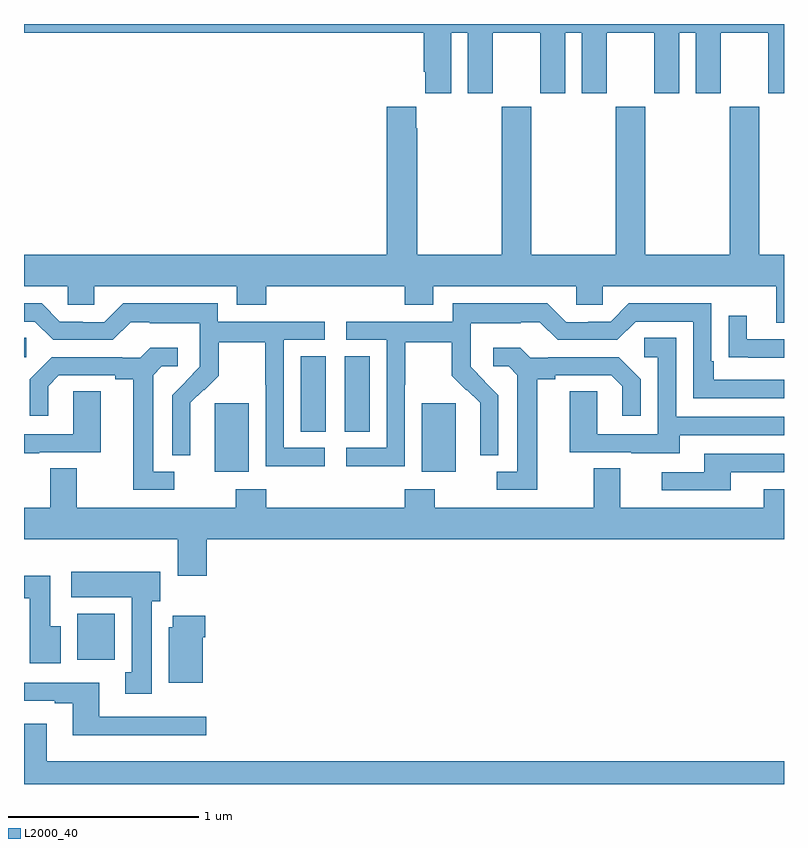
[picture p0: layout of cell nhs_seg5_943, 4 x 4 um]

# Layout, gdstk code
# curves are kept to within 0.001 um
import gdstk
lib = gdstk.Library(unit=1e-6, precision=1e-09)
def R(c, l, rs):  # rectangles x0, y0, x1, y1
    for r in rs: c.add(gdstk.rectangle(r[:2], r[2:], *l))
def P(c, l, *ps):  # polygons
    for p in ps: c.add(gdstk.Polygon(p, *l))
L2000_40 = (2000, 40)

nhs_seg5_943 = lib.new_cell('nhs_seg5_943')
R(nhs_seg5_943, L2000_40, [(171.281,861.452,171.478,861.694), (172.004,862.442,172.183,862.803), (173.093,862.442,173.272,862.803), (172.457,862.654,172.588,863.051), (172.688,862.654,172.819,863.051), (171,863.046,171.013,863.147)])
P(nhs_seg5_943, L2000_40, [(171,864.752),(173.105,864.752),(173.105,864.547),(173.111,864.547),(173.111,864.435),(173.248,864.435),(173.248,864.752),(173.336,864.752),(173.336,864.435),(173.467,864.435),(173.467,864.752),(173.717,864.752),(173.717,864.435),(173.848,864.435),(173.848,864.752),(173.936,864.752),(173.936,864.435),(174.067,864.435),(174.067,864.752),(174.317,864.752),(174.317,864.435),(174.448,864.435),(174.448,864.752),(174.536,864.752),(174.536,864.435),(174.667,864.435),(174.667,864.752),(174.917,864.752),(174.917,864.435),(175,864.435),(175,864.799),(171,864.799)],
  [(175,863.584),(174.87,863.584),(174.87,864.364),(174.715,864.364),(174.715,863.584),(174.27,863.584),(174.27,864.364),(174.115,864.364),(174.115,863.584),(173.67,863.584),(173.67,864.364),(173.515,864.364),(173.515,863.584),(173.07,863.584),(173.07,864.251),(173.065,864.251),(173.065,864.364),(172.91,864.364),(172.91,863.584),(171,863.584),(171,863.42),(171.231,863.42),(171.231,863.322),(171.369,863.322),(171.369,863.42),(172.121,863.42),(172.121,863.321),(172.274,863.321),(172.274,863.42),(173.003,863.42),(173.003,863.321),(173.155,863.321),(173.155,863.42),(173.907,863.42),(173.907,863.322),(174.045,863.322),(174.045,863.42),(174.959,863.42),(174.959,863.226),(175,863.226)],
  [(172.582,862.569),(172.368,862.569),(172.368,863.136),(172.582,863.136),(172.582,863.232),(172.02,863.232),(172.02,863.329),(171.523,863.329),(171.423,863.229),(171.308,863.229),(171.308,863.232),(171.189,863.232),(171.093,863.328),(171,863.328),(171,863.232),(171.057,863.232),(171.153,863.136),(171.468,863.136),(171.561,863.229),(171.661,863.229),(171.661,863.225),(171.924,863.225),(171.924,863.091),(171.926,863.091),(171.926,862.994),(171.78,862.846),(171.78,862.528),(171.876,862.528),(171.875,862.805),(171.945,862.875),(171.948,862.872),(172.025,862.949),(172.025,863.124),(172.27,863.124),(172.27,862.9),(172.272,862.9),(172.272,862.471),(172.582,862.471)],
  [(173.004,862.9),(173.007,862.9),(173.007,863.124),(173.251,863.124),(173.251,862.949),(173.328,862.872),(173.331,862.875),(173.402,862.805),(173.402,862.682),(173.4,862.682),(173.4,862.528),(173.496,862.528),(173.496,862.846),(173.35,862.994),(173.35,863.091),(173.352,863.091),(173.352,863.225),(173.615,863.225),(173.615,863.229),(173.715,863.229),(173.808,863.136),(174.123,863.136),(174.219,863.232),(174.522,863.232),(174.522,862.83),(175,862.83),(175,862.926),(174.631,862.926),(174.631,863.023),(174.618,863.023),(174.618,863.328),(174.183,863.328),(174.087,863.232),(173.969,863.232),(173.969,863.229),(173.853,863.229),(173.753,863.329),(173.256,863.329),(173.256,863.232),(172.695,863.232),(172.695,863.136),(172.908,863.136),(172.908,862.569),(172.695,862.569),(172.695,862.471),(173.004,862.471)],
  [(175,863.139),(174.805,863.139),(174.805,863.263),(174.709,863.263),(174.709,863.044),(174.811,863.044),(174.811,863.043),(175,863.043)],
  [(174.451,862.635),(175,862.635),(175,862.731),(174.432,862.731),(174.432,863.147),(174.264,863.147),(174.264,863.046),(174.336,863.046),(174.336,862.641),(174.018,862.641),(174.018,862.865),(173.873,862.865),(173.873,862.545),(174.197,862.545),(174.197,862.541),(174.451,862.541)],
  [(171.79,862.443),(171.679,862.443),(171.679,862.951),(171.726,862.998),(171.808,862.998),(171.808,863.095),(171.664,863.095),(171.612,863.043),(171.518,863.043),(171.518,863.046),(171.146,863.046),(171.03,862.93),(171.03,862.737),(171.127,862.737),(171.127,862.893),(171.184,862.95),(171.479,862.95),(171.479,862.928),(171.575,862.928),(171.575,862.347),(171.79,862.347)],
  [(173.701,862.928),(173.797,862.928),(173.797,862.95),(174.092,862.95),(174.149,862.893),(174.149,862.737),(174.246,862.737),(174.246,862.93),(174.13,863.046),(173.758,863.046),(173.758,863.043),(173.664,863.043),(173.612,863.095),(173.469,863.095),(173.469,862.998),(173.55,862.998),(173.597,862.951),(173.597,862.443),(173.487,862.443),(173.487,862.347),(173.701,862.347)],
  [(171.079,862.545),(171.403,862.545),(171.403,862.865),(171.258,862.865),(171.258,862.641),(171,862.641),(171,862.541),(171.079,862.541)],
  [(174.721,862.44),(175,862.44),(175,862.536),(174.581,862.536),(174.581,862.44),(174.357,862.44),(174.357,862.344),(174.721,862.344)],
  [(171.962,862.088),(175,862.088),(175,862.351),(174.893,862.351),(174.893,862.252),(174.139,862.252),(174.139,862.46),(173.999,862.46),(173.999,862.252),(173.163,862.252),(173.163,862.351),(173.003,862.351),(173.003,862.252),(172.274,862.252),(172.274,862.351),(172.114,862.351),(172.114,862.252),(171.277,862.252),(171.277,862.46),(171.137,862.46),(171.137,862.252),(171,862.252),(171,862.088),(171.809,862.088),(171.809,861.894),(171.962,861.894)],
  [(171.673,861.762),(171.718,861.762),(171.718,861.916),(171.249,861.916),(171.249,861.782),(171.566,861.782),(171.566,861.386),(171.533,861.386),(171.533,861.273),(171.673,861.273)],
  [(171.193,861.628),(171.139,861.628),(171.139,861.895),(171,861.895),(171,861.776),(171.029,861.776),(171.029,861.435),(171.193,861.435)],
  [(171.94,861.572),(171.953,861.572),(171.953,861.685),(171.782,861.685),(171.782,861.624),(171.761,861.624),(171.761,861.332),(171.94,861.332)],
  [(171.958,861.153),(171.397,861.153),(171.397,861.333),(171,861.333),(171,861.237),(171.161,861.237),(171.161,861.225),(171.257,861.225),(171.257,861.056),(171.958,861.056)],
  [(175,860.92),(171.121,860.92),(171.121,861.115),(171,861.115),(171,860.799),(175,860.799)])

lib.write_gds('nhs_seg5_943.gds')
